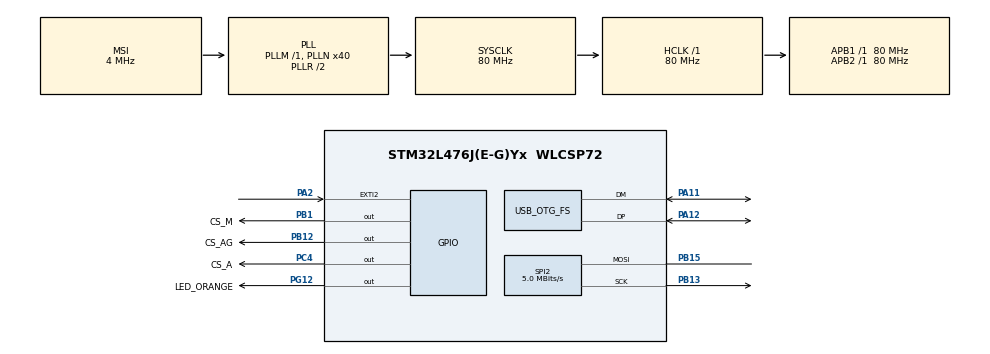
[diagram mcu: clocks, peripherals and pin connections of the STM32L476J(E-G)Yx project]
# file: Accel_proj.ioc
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Mcu.Family=STM32L4
Mcu.Name=STM32L476J(E-G)Yx
Mcu.Package=WLCSP72
NVIC.EXTI2_IRQn=true\:0\:0\:false\:false\:true\:true
NVIC.OTG_FS_IRQn=true\:0\:0\:false\:false\:true\:false
NVIC.PriorityGroup=NVIC_PRIORITYGROUP_4
PA11.Mode=Device_Only
PA11.Signal=USB_OTG_FS_DM
PA12.Mode=Device_Only
PA12.Signal=USB_OTG_FS_DP
PA2.GPIO_ModeDefaultEXTI=GPIO_MODE_IT_RISING
PA2.Signal=GPXTI2
PB1.GPIO_Label=CS_M
PB1.PinState=GPIO_PIN_SET
PB1.Signal=GPIO_Output
PB12.GPIO_Label=CS_AG
PB12.PinState=GPIO_PIN_SET
PB12.Signal=GPIO_Output
PB13.Mode=Simplex_Bidirectional_Master
PB13.Signal=SPI2_SCK
PB15.Mode=Simplex_Bidirectional_Master
PB15.Signal=SPI2_MOSI
PC14-OSC32_IN\ (PC14).Mode=LSE-External-Oscillator
PC14-OSC32_IN\ (PC14).Signal=RCC_OSC32_IN
PC15-OSC32_OUT\ (PC15).Mode=LSE-External-Oscillator
PC15-OSC32_OUT\ (PC15).Signal=RCC_OSC32_OUT
PC4.GPIO_Label=CS_A
PC4.PinState=GPIO_PIN_SET
PC4.Signal=GPIO_Output
PG12.GPIO_Label=LED_ORANGE
PG12.PinState=GPIO_PIN_SET
PG12.Signal=GPIO_Output
ProjectManager.HeapSize=0x2000
ProjectManager.StackSize=0x4000
ProjectManager.TargetToolchain=MDK-ARM V5
RCC.ADCFreq_Value=48000000
RCC.AHBFreq_Value=80000000
RCC.APB1Freq_Value=80000000
RCC.APB1TimFreq_Value=80000000
RCC.APB2Freq_Value=80000000
RCC.APB2TimFreq_Value=80000000
RCC.CortexFreq_Value=80000000
RCC.HCLKFreq_Value=80000000
RCC.HSE_VALUE=8000000
RCC.HSI_VALUE=16000000
RCC.MSI_VALUE=4000000
RCC.PLLN=40
RCC.PLLSAI1N=24
RCC.SYSCLKFreq_VALUE=80000000
RCC.SYSCLKSource=RCC_SYSCLKSOURCE_PLLCLK
RCC.USBFreq_Value=48000000
RCC.VCOOutputFreq_Value=160000000
SPI2.BaudRatePrescaler=SPI_BAUDRATEPRESCALER_16
SPI2.CLKPhase=SPI_PHASE_2EDGE
SPI2.CLKPolarity=SPI_POLARITY_HIGH
SPI2.CalculateBaudRate=5.0 MBits/s
SPI2.DataSize=SPI_DATASIZE_8BIT
SPI2.Direction=SPI_DIRECTION_1LINE
SPI2.Mode=SPI_MODE_MASTER
SPI2.VirtualType=VM_MASTER
USB_DEVICE.APP_RX_DATA_SIZE=2048
USB_DEVICE.CLASS_NAME_FS=CDC
USB_DEVICE.USBD_LPM_ENABLED=1
USB_DEVICE.USBD_SELF_POWERED=1
USB_DEVICE.VirtualMode=Cdc
USB_DEVICE.VirtualModeFS=Cdc_FS
USB_OTG_FS.VirtualMode=Device_Only
VP_USB_DEVICE_VS_USB_DEVICE_CDC_FS.Mode=CDC_FS
board=Accel_proj

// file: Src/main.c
/**
  ******************************************************************************
  * File Name          : main.c
  * Description        : Main program body
  ******************************************************************************
  * This notice applies to any and all portions of this file
  * that are not between comment pairs USER CODE BEGIN and
  * USER CODE END. Other portions of this file, whether
  * inserted by the user or by software development tools
  * are owned by their respective copyright owners.
  *
  * Copyright (c) 2018 STMicroelectronics International N.V.
  * All rights reserved.
  *
  * Redistribution and use in source and binary forms, with or without
  * modification, are permitted, provided that the following conditions are met:
  *
  * 1. Redistribution of source code must retain the above copyright notice,
  *    this list of conditions and the following disclaimer.
  * 2. Redistributions in binary form must reproduce the above copyright notice,
  *    this list of conditions and the following disclaimer in the documentation
  *    and/or other materials provided with the distribution.
  * 3. Neither the name of STMicroelectronics nor the names of other
  *    contributors to this software may be used to endorse or promote products
  *    derived from this software without specific written permission.
  * 4. This software, including modifications and/or derivative works of this
  *    software, must execute solely and exclusively on microcontroller or
  *    microprocessor devices manufactured by or for STMicroelectronics.
  * 5. Redistribution and use of this software other than as permitted under
  *    this license is void and will automatically terminate your rights under
  *    this license.
  *
  * THIS SOFTWARE IS PROVIDED BY STMICROELECTRONICS AND CONTRIBUTORS "AS IS"
  * AND ANY EXPRESS, IMPLIED OR STATUTORY WARRANTIES, INCLUDING, BUT NOT
  * LIMITED TO, THE IMPLIED WARRANTIES OF MERCHANTABILITY, FITNESS FOR A
  * PARTICULAR PURPOSE AND NON-INFRINGEMENT OF THIRD PARTY INTELLECTUAL PROPERTY
  * RIGHTS ARE DISCLAIMED TO THE FULLEST EXTENT PERMITTED BY LAW. IN NO EVENT
  * SHALL STMICROELECTRONICS OR CONTRIBUTORS BE LIABLE FOR ANY DIRECT, INDIRECT,
  * INCIDENTAL, SPECIAL, EXEMPLARY, OR CONSEQUENTIAL DAMAGES (INCLUDING, BUT NOT
  * LIMITED TO, PROCUREMENT OF SUBSTITUTE GOODS OR SERVICES; LOSS OF USE, DATA,
  * OR PROFITS; OR BUSINESS INTERRUPTION) HOWEVER CAUSED AND ON ANY THEORY OF
  * LIABILITY, WHETHER IN CONTRACT, STRICT LIABILITY, OR TORT (INCLUDING
  * NEGLIGENCE OR OTHERWISE) ARISING IN ANY WAY OUT OF THE USE OF THIS SOFTWARE,
  * EVEN IF ADVISED OF THE POSSIBILITY OF SUCH DAMAGE.
  *
  ******************************************************************************
  */

#include "main.h"
#include "stm32l4xx_hal.h"
#include "spi.h"
#include "usb_device.h"
#include "gpio.h"

/* USER CODE BEGIN Includes */
#include "usbd_cdc_if.h"
#include <stdio.h>
#include "LSM6DSM_Driver.h"
#include "IMU.h"

/* USER CODE END Includes */

/* USER CODE BEGIN PV */
/* Private variables ---------------------------------------------------------*/
	uint8_t ReceivedData[60]; // Tablica przechowujaca odebrane dane
	uint8_t ReceivedDataFlag;
/* USER CODE END PV */

void SystemClock_Config(void);

/* USER CODE BEGIN PFP */
/* Private function prototypes -----------------------------------------------*/
	uint8_t FindNewLine( char* str);
/* USER CODE END PFP */

int main(void)
{

  /* USER CODE BEGIN 1 */
	Sensor_LSM6DSM.GPIOx = CS_AG_GPIO_Port;
	Sensor_LSM6DSM.GPIO_Pin = CS_AG_Pin;
	Sensor_LSM6DSM.Sensor = SENSOR_AG;

	char USB_TxBuf[100];
	uint8_t WhoIam = 0xFF;
	int16_t Raw_Data_Accel[3];
	int16_t Raw_Data_Gyro[3];
	float G_Data_Accel[3];
	float DPS_Data_Gyro[3];
	float ComplementaryData[3] = { 0.0f,0.0f,0.0f };

  /* USER CODE END 1 */

  /* MCU Configuration----------------------------------------------------------*/

  /* Reset of all peripherals, Initializes the Flash interface and the Systick. */
  HAL_Init();

  /* Configure the system clock */
  SystemClock_Config();

  /* Initialize all configured peripherals */
  MX_GPIO_Init();
  MX_SPI2_Init();
  MX_USB_DEVICE_Init();

  /* USER CODE BEGIN 2 */
	SPI_Initialization();
	HAL_Delay(15);

	LSM6DSM_Init();
	LSM6DSM_Who_Am_I(&WhoIam);
	if (WhoIam != 0x6A)
	{
		while(1)
		{
			sprintf(USB_TxBuf,"Invalid sensor initialization\r\nReset MCU!");
			CDC_Transmit_FS((uint8_t *)USB_TxBuf,50);
			HAL_Delay(500);
		}
	}

	HAL_Delay(500);
  /* USER CODE END 2 */

  /* Infinite loop */
  /* USER CODE BEGIN WHILE */

	LSM6DSM_Callibrate();
  while (1)
  {
    if(LSM6DSM_DataReady)
		{
		  LSM6DSM_DataReady = 0;

			LSM6DSM_Accel_Read_X_Y_Z(Raw_Data_Accel);
			LSM6DSM_Accel_Data_Conv_To_G(Raw_Data_Accel,G_Data_Accel,LSM6DSM_Get_Configuration(SENSOR_TYPE_ACC));

			LSM6DSM_GYRO_Read_X_Y_Z(Raw_Data_Gyro);
			LSM6DSM_Gyro_Data_Conv_To_Radians(Raw_Data_Gyro,DPS_Data_Gyro,LSM6DSM_Get_Configuration(SENSOR_TYPE_GYRO));

			IMU_Update(DPS_Data_Gyro[0],DPS_Data_Gyro[1],DPS_Data_Gyro[2],G_Data_Accel[0],G_Data_Accel[1],G_Data_Accel[2]);
			IMU_GetPosition(ComplementaryData);

			sprintf(USB_TxBuf,"%3.3f;%3.3f;%3.3f\n",ComplementaryData[0],ComplementaryData[1],ComplementaryData[2]);
			CDC_Transmit_FS((uint8_t*)USB_TxBuf,FindNewLine(USB_TxBuf));
			//sprintf(USB_TxBuf,"%3.2f;%3.2f;%3.2f\r\n",DPS_Data_Gyro[0],DPS_Data_Gyro[1],DPS_Data_Gyro[2]);
			//CDC_Transmit_FS((uint8_t*)USB_TxBuf,FindNewLine(USB_TxBuf));
		}

		//sprintf(USB_TxBuf,"G:%3.1f;%3.1f;%3.1f\r\n",DPS_Data_Gyro[0],DPS_Data_Gyro[1],DPS_Data_Gyro[2]);

  /* USER CODE END WHILE */

  }

}

/** System Clock Configuration
*/
void SystemClock_Config(void)
{
  RCC_OscInitTypeDef RCC_OscInitStruct;
  RCC_ClkInitTypeDef RCC_ClkInitStruct;
  RCC_PeriphCLKInitTypeDef PeriphClkInit;

    /**Configure LSE Drive Capability
    */
  __HAL_RCC_LSEDRIVE_CONFIG(RCC_LSEDRIVE_LOW);

    /**Initializes the CPU, AHB and APB busses clocks
    */
  RCC_OscInitStruct.OscillatorType = RCC_OSCILLATORTYPE_LSE|RCC_OSCILLATORTYPE_MSI;
  RCC_OscInitStruct.LSEState = RCC_LSE_ON;
  RCC_OscInitStruct.MSIState = RCC_MSI_ON;
  RCC_OscInitStruct.MSICalibrationValue = 0;
  RCC_OscInitStruct.MSIClockRange = RCC_MSIRANGE_6;
  RCC_OscInitStruct.PLL.PLLState = RCC_PLL_ON;
  RCC_OscInitStruct.PLL.PLLSource = RCC_PLLSOURCE_MSI;
  RCC_OscInitStruct.PLL.PLLM = 1;
  RCC_OscInitStruct.PLL.PLLN = 40;
  RCC_OscInitStruct.PLL.PLLP = RCC_PLLP_DIV7;
  RCC_OscInitStruct.PLL.PLLQ = RCC_PLLQ_DIV2;
  RCC_OscInitStruct.PLL.PLLR = RCC_PLLR_DIV2;
  if (HAL_RCC_OscConfig(&RCC_OscInitStruct) != HAL_OK)
  {
    _Error_Handler(__FILE__, __LINE__);
  }

    /**Initializes the CPU, AHB and APB busses clocks
    */
  RCC_ClkInitStruct.ClockType = RCC_CLOCKTYPE_HCLK|RCC_CLOCKTYPE_SYSCLK
                              |RCC_CLOCKTYPE_PCLK1|RCC_CLOCKTYPE_PCLK2;
  RCC_ClkInitStruct.SYSCLKSource = RCC_SYSCLKSOURCE_PLLCLK;
  RCC_ClkInitStruct.AHBCLKDivider = RCC_SYSCLK_DIV1;
  RCC_ClkInitStruct.APB1CLKDivider = RCC_HCLK_DIV1;
  RCC_ClkInitStruct.APB2CLKDivider = RCC_HCLK_DIV1;

  if (HAL_RCC_ClockConfig(&RCC_ClkInitStruct, FLASH_LATENCY_3) != HAL_OK)
  {
    _Error_Handler(__FILE__, __LINE__);
  }

  PeriphClkInit.PeriphClockSelection = RCC_PERIPHCLK_USB;
  PeriphClkInit.UsbClockSelection = RCC_USBCLKSOURCE_PLLSAI1;
  PeriphClkInit.PLLSAI1.PLLSAI1Source = RCC_PLLSOURCE_MSI;
  PeriphClkInit.PLLSAI1.PLLSAI1M = 1;
  PeriphClkInit.PLLSAI1.PLLSAI1N = 24;
  PeriphClkInit.PLLSAI1.PLLSAI1P = RCC_PLLP_DIV7;
  PeriphClkInit.PLLSAI1.PLLSAI1Q = RCC_PLLQ_DIV2;
  PeriphClkInit.PLLSAI1.PLLSAI1R = RCC_PLLR_DIV2;
  PeriphClkInit.PLLSAI1.PLLSAI1ClockOut = RCC_PLLSAI1_48M2CLK;
  if (HAL_RCCEx_PeriphCLKConfig(&PeriphClkInit) != HAL_OK)
  {
    _Error_Handler(__FILE__, __LINE__);
  }

    /**Configure the main internal regulator output voltage
    */
  if (HAL_PWREx_ControlVoltageScaling(PWR_REGULATOR_VOLTAGE_SCALE1) != HAL_OK)
  {
    _Error_Handler(__FILE__, __LINE__);
  }

    /**Configure the Systick interrupt time
    */
  HAL_SYSTICK_Config(HAL_RCC_GetHCLKFreq()/1000);

    /**Configure the Systick
    */
  HAL_SYSTICK_CLKSourceConfig(SYSTICK_CLKSOURCE_HCLK);

    /**Enable MSI Auto calibration
    */
  HAL_RCCEx_EnableMSIPLLMode();

  /* SysTick_IRQn interrupt configuration */
  HAL_NVIC_SetPriority(SysTick_IRQn, 0, 0);
}

/* USER CODE BEGIN 4 */

uint8_t FindNewLine( char* str)
{
	int i = 0;
	while( str[i] != '\n')
	{
		i++;
	}
	return ++i;
}

/* USER CODE END 4 */

void _Error_Handler(char * file, int line)
{
  while(1)
  {
  }
}

/************************ (C) COPYRIGHT STMicroelectronics *****END OF FILE****/
